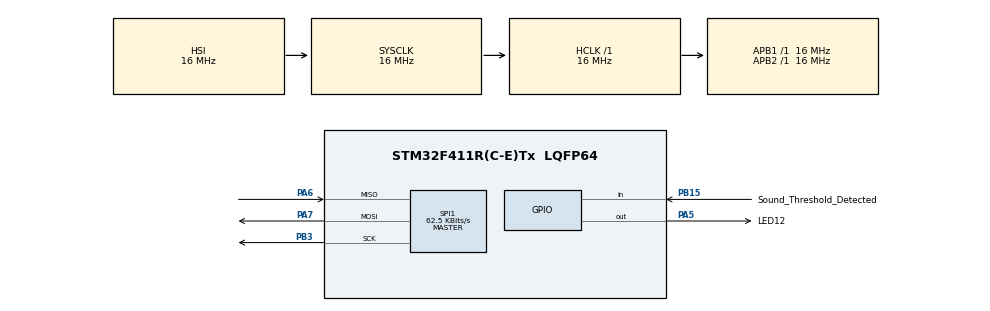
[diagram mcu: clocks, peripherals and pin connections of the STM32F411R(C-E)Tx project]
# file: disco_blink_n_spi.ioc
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Mcu.Family=STM32F4
Mcu.Name=STM32F411R(C-E)Tx
Mcu.Package=LQFP64
NVIC.PriorityGroup=NVIC_PRIORITYGROUP_4
PA13.Mode=Serial_Wire
PA13.Signal=SYS_JTMS-SWDIO
PA14.Mode=Serial_Wire
PA14.Signal=SYS_JTCK-SWCLK
PA5.GPIO_Label=LED12
PA5.Signal=GPIO_Output
PA6.Mode=Full_Duplex_Master
PA6.Signal=SPI1_MISO
PA7.Mode=Full_Duplex_Master
PA7.Signal=SPI1_MOSI
PB15.GPIO_Label=Sound_Threshold_Detected
PB15.Signal=GPIO_Input
PB3.Mode=Full_Duplex_Master
PB3.Signal=SPI1_SCK
PH0\ -\ OSC_IN.Mode=HSE-External-Oscillator
PH0\ -\ OSC_IN.Signal=RCC_OSC_IN
PH1\ -\ OSC_OUT.Mode=HSE-External-Oscillator
PH1\ -\ OSC_OUT.Signal=RCC_OSC_OUT
ProjectManager.HeapSize=0x200
ProjectManager.StackSize=0x400
ProjectManager.TargetToolchain=MDK-ARM V5
RCC.AHBFreq_Value=16000000
RCC.APB1Freq_Value=16000000
RCC.APB2Freq_Value=16000000
RCC.CortexFreq_Value=16000000
RCC.HSE_VALUE=25000000
RCC.HSI_VALUE=16000000
RCC.LSE_VALUE=32768
RCC.SYSCLKFreq_VALUE=16000000
RCC.VCOOutputFreq_Value=192000000
SPI1.BaudRatePrescaler=SPI_BAUDRATEPRESCALER_256
SPI1.CalculateBaudRate=62.5 KBits/s
SPI1.Direction=SPI_DIRECTION_2LINES
SPI1.Mode=SPI_MODE_MASTER
SPI1.VirtualType=VM_MASTER
board=disco_blink_n_spi

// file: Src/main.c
/**
  ******************************************************************************
  * File Name          : main.c
  * Description        : Main program body
  ******************************************************************************
  ** This notice applies to any and all portions of this file
  * that are not between comment pairs USER CODE BEGIN and
  * USER CODE END. Other portions of this file, whether
  * inserted by the user or by software development tools
  * are owned by their respective copyright owners.
  *
  * COPYRIGHT(c) 2017 STMicroelectronics
  *
  * Redistribution and use in source and binary forms, with or without modification,
  * are permitted provided that the following conditions are met:
  *   1. Redistributions of source code must retain the above copyright notice,
  *      this list of conditions and the following disclaimer.
  *   2. Redistributions in binary form must reproduce the above copyright notice,
  *      this list of conditions and the following disclaimer in the documentation
  *      and/or other materials provided with the distribution.
  *   3. Neither the name of STMicroelectronics nor the names of its contributors
  *      may be used to endorse or promote products derived from this software
  *      without specific prior written permission.
  *
  * THIS SOFTWARE IS PROVIDED BY THE COPYRIGHT HOLDERS AND CONTRIBUTORS "AS IS"
  * AND ANY EXPRESS OR IMPLIED WARRANTIES, INCLUDING, BUT NOT LIMITED TO, THE
  * IMPLIED WARRANTIES OF MERCHANTABILITY AND FITNESS FOR A PARTICULAR PURPOSE ARE
  * DISCLAIMED. IN NO EVENT SHALL THE COPYRIGHT HOLDER OR CONTRIBUTORS BE LIABLE
  * FOR ANY DIRECT, INDIRECT, INCIDENTAL, SPECIAL, EXEMPLARY, OR CONSEQUENTIAL
  * DAMAGES (INCLUDING, BUT NOT LIMITED TO, PROCUREMENT OF SUBSTITUTE GOODS OR
  * SERVICES; LOSS OF USE, DATA, OR PROFITS; OR BUSINESS INTERRUPTION) HOWEVER
  * CAUSED AND ON ANY THEORY OF LIABILITY, WHETHER IN CONTRACT, STRICT LIABILITY,
  * OR TORT (INCLUDING NEGLIGENCE OR OTHERWISE) ARISING IN ANY WAY OUT OF THE USE
  * OF THIS SOFTWARE, EVEN IF ADVISED OF THE POSSIBILITY OF SUCH DAMAGE.
  *
  ******************************************************************************
  */
#include "main.h"
#include "stm32f4xx_hal.h"

/* USER CODE BEGIN Includes */
#define 	SET_THRESHOLD_DEMO		0
#define 	TOGGLE_DETECTION_DEMO	0
#define 	RECEIVE_THRESHOLD_DEMO	0
#define 	INTERRUPT_LINE_DEMO		1

/* USER CODE END Includes */

SPI_HandleTypeDef hspi1;

/* USER CODE BEGIN PV */
/* Private variables ---------------------------------------------------------*/
#define SOUND_THRESHOLD	0xff
static uint8_t sound_threshold = SOUND_THRESHOLD;
uint8_t set_threshold_tx_buf[] = {0x01, SOUND_THRESHOLD};
uint8_t toggle_sound_detection_tx_buf[] = {0x02, 0x01};
uint8_t get_sound_level_tx_buf[] = {0x03, 0x00, 0x00};
uint8_t clear_interrupt_buf[] = {0x04, 0x00};
uint8_t spi_rx_buf[] = {0x00, 0x00, 0x00};

/* USER CODE END PV */

void SystemClock_Config(void);
static void MX_GPIO_Init(void);
static void MX_SPI1_Init(void);

/* USER CODE BEGIN PFP */
/* Private function prototypes -----------------------------------------------*/

/* USER CODE END PFP */

int main(void)
{

  /* MCU Configuration----------------------------------------------------------*/

  /* Reset of all peripherals, Initializes the Flash interface and the Systick. */
  HAL_Init();

  /* Configure the system clock */
  SystemClock_Config();

  /* Initialize all configured peripherals */
  MX_GPIO_Init();
  MX_SPI1_Init();

  /* USER CODE BEGIN 2 */
	toggle_sound_detection_tx_buf[1] = 1;
	HAL_SPI_TransmitReceive(&hspi1, toggle_sound_detection_tx_buf, spi_rx_buf, 2, 100);
	HAL_Delay(100);
	set_threshold_tx_buf[1] = 0x10;
	HAL_SPI_TransmitReceive(&hspi1, set_threshold_tx_buf, spi_rx_buf, 2, 100);
	HAL_Delay(100);

  /* USER CODE END 2 */

  /* Infinite loop */
	while (1)
	{

  /* USER CODE BEGIN 3 */
		int sound_level;

#if SET_THRESHOLD_DEMO == 1
		// Set the value in the following line to any value from 0x00 to 0xff and watch the threshold change on the n572.
		set_threshold_tx_buf[1] = SOUND_THRESHOLD;
		HAL_SPI_TransmitReceive(&hspi1, set_threshold_tx_buf, spi_rx_buf, 2, 100);
		HAL_Delay(500);

#elif TOGGLE_DETECTION_DEMO == 1
		toggle_sound_detection_tx_buf[1] = 1;
		HAL_SPI_TransmitReceive(&hspi1, toggle_sound_detection_tx_buf, spi_rx_buf, 2, 100);
		HAL_Delay(500);
		toggle_sound_detection_tx_buf[1] = 0;
		HAL_SPI_TransmitReceive(&hspi1, toggle_sound_detection_tx_buf, spi_rx_buf, 2, 100);
		HAL_Delay(500);

#elif RECEIVE_THRESHOLD_DEMO == 1
		HAL_SPI_TransmitReceive(&hspi1, get_sound_level_tx_buf, spi_rx_buf, 3, 100);
		HAL_Delay(100);

		sound_level = (int16_t) (spi_rx_buf[1]<<8) + (int16_t) spi_rx_buf[2];
		if(sound_level>sound_threshold) {
			HAL_GPIO_WritePin(LED12_GPIO_Port, LED12_Pin, GPIO_PIN_SET);
		} else {
			HAL_GPIO_WritePin(LED12_GPIO_Port, LED12_Pin, GPIO_PIN_RESET);
		}
		HAL_Delay(100);

#elif INTERRUPT_LINE_DEMO == 1
		if(HAL_GPIO_ReadPin(Sound_Threshold_Detected_GPIO_Port, Sound_Threshold_Detected_Pin)) {
			HAL_GPIO_WritePin(LED12_GPIO_Port, LED12_Pin, GPIO_PIN_SET);
			HAL_Delay(100);
			HAL_SPI_TransmitReceive(&hspi1, clear_interrupt_buf, spi_rx_buf, 2, 100);
			HAL_GPIO_WritePin(LED12_GPIO_Port, LED12_Pin, GPIO_PIN_RESET);
		}
		HAL_Delay(100);
#endif

	}
  /* USER CODE END 3 */

}

/** System Clock Configuration
*/
void SystemClock_Config(void)
{

  RCC_OscInitTypeDef RCC_OscInitStruct;
  RCC_ClkInitTypeDef RCC_ClkInitStruct;

    /**Configure the main internal regulator output voltage
    */
  __HAL_RCC_PWR_CLK_ENABLE();

  __HAL_PWR_VOLTAGESCALING_CONFIG(PWR_REGULATOR_VOLTAGE_SCALE1);

    /**Initializes the CPU, AHB and APB busses clocks
    */
  RCC_OscInitStruct.OscillatorType = RCC_OSCILLATORTYPE_HSI;
  RCC_OscInitStruct.HSIState = RCC_HSI_ON;
  RCC_OscInitStruct.HSICalibrationValue = 16;
  RCC_OscInitStruct.PLL.PLLState = RCC_PLL_NONE;
  if (HAL_RCC_OscConfig(&RCC_OscInitStruct) != HAL_OK)
  {
    _Error_Handler(__FILE__, __LINE__);
  }

    /**Initializes the CPU, AHB and APB busses clocks
    */
  RCC_ClkInitStruct.ClockType = RCC_CLOCKTYPE_HCLK|RCC_CLOCKTYPE_SYSCLK
                              |RCC_CLOCKTYPE_PCLK1|RCC_CLOCKTYPE_PCLK2;
  RCC_ClkInitStruct.SYSCLKSource = RCC_SYSCLKSOURCE_HSI;
  RCC_ClkInitStruct.AHBCLKDivider = RCC_SYSCLK_DIV1;
  RCC_ClkInitStruct.APB1CLKDivider = RCC_HCLK_DIV1;
  RCC_ClkInitStruct.APB2CLKDivider = RCC_HCLK_DIV1;

  if (HAL_RCC_ClockConfig(&RCC_ClkInitStruct, FLASH_LATENCY_0) != HAL_OK)
  {
    _Error_Handler(__FILE__, __LINE__);
  }

    /**Configure the Systick interrupt time
    */
  HAL_SYSTICK_Config(HAL_RCC_GetHCLKFreq()/1000);

    /**Configure the Systick
    */
  HAL_SYSTICK_CLKSourceConfig(SYSTICK_CLKSOURCE_HCLK);

  /* SysTick_IRQn interrupt configuration */
  HAL_NVIC_SetPriority(SysTick_IRQn, 0, 0);
}

/* SPI1 init function */
static void MX_SPI1_Init(void)
{

  hspi1.Instance = SPI1;
  hspi1.Init.Mode = SPI_MODE_MASTER;
  hspi1.Init.Direction = SPI_DIRECTION_2LINES;
  hspi1.Init.DataSize = SPI_DATASIZE_8BIT;
  hspi1.Init.CLKPolarity = SPI_POLARITY_LOW;
  hspi1.Init.CLKPhase = SPI_PHASE_1EDGE;
  hspi1.Init.NSS = SPI_NSS_SOFT;
  hspi1.Init.BaudRatePrescaler = SPI_BAUDRATEPRESCALER_256;
  hspi1.Init.FirstBit = SPI_FIRSTBIT_MSB;
  hspi1.Init.TIMode = SPI_TIMODE_DISABLE;
  hspi1.Init.CRCCalculation = SPI_CRCCALCULATION_DISABLE;
  hspi1.Init.CRCPolynomial = 10;
  if (HAL_SPI_Init(&hspi1) != HAL_OK)
  {
    _Error_Handler(__FILE__, __LINE__);
  }

}

/** Configure pins as
        * Analog
        * Input
        * Output
        * EVENT_OUT
        * EXTI
*/
static void MX_GPIO_Init(void)
{

  GPIO_InitTypeDef GPIO_InitStruct;

  /* GPIO Ports Clock Enable */
  __HAL_RCC_GPIOH_CLK_ENABLE();
  __HAL_RCC_GPIOA_CLK_ENABLE();
  __HAL_RCC_GPIOB_CLK_ENABLE();

  /*Configure GPIO pin Output Level */
  HAL_GPIO_WritePin(LED12_GPIO_Port, LED12_Pin, GPIO_PIN_RESET);

  /*Configure GPIO pin : LED12_Pin */
  GPIO_InitStruct.Pin = LED12_Pin;
  GPIO_InitStruct.Mode = GPIO_MODE_OUTPUT_PP;
  GPIO_InitStruct.Pull = GPIO_NOPULL;
  GPIO_InitStruct.Speed = GPIO_SPEED_FREQ_LOW;
  HAL_GPIO_Init(LED12_GPIO_Port, &GPIO_InitStruct);

  /*Configure GPIO pin : Sound_Threshold_Detected_Pin */
  GPIO_InitStruct.Pin = Sound_Threshold_Detected_Pin;
  GPIO_InitStruct.Mode = GPIO_MODE_INPUT;
  GPIO_InitStruct.Pull = GPIO_NOPULL;
  HAL_GPIO_Init(Sound_Threshold_Detected_GPIO_Port, &GPIO_InitStruct);

}

void _Error_Handler(char * file, int line)
{
  while(1)
  {
  }
}

/************************ (C) COPYRIGHT STMicroelectronics *****END OF FILE****/
